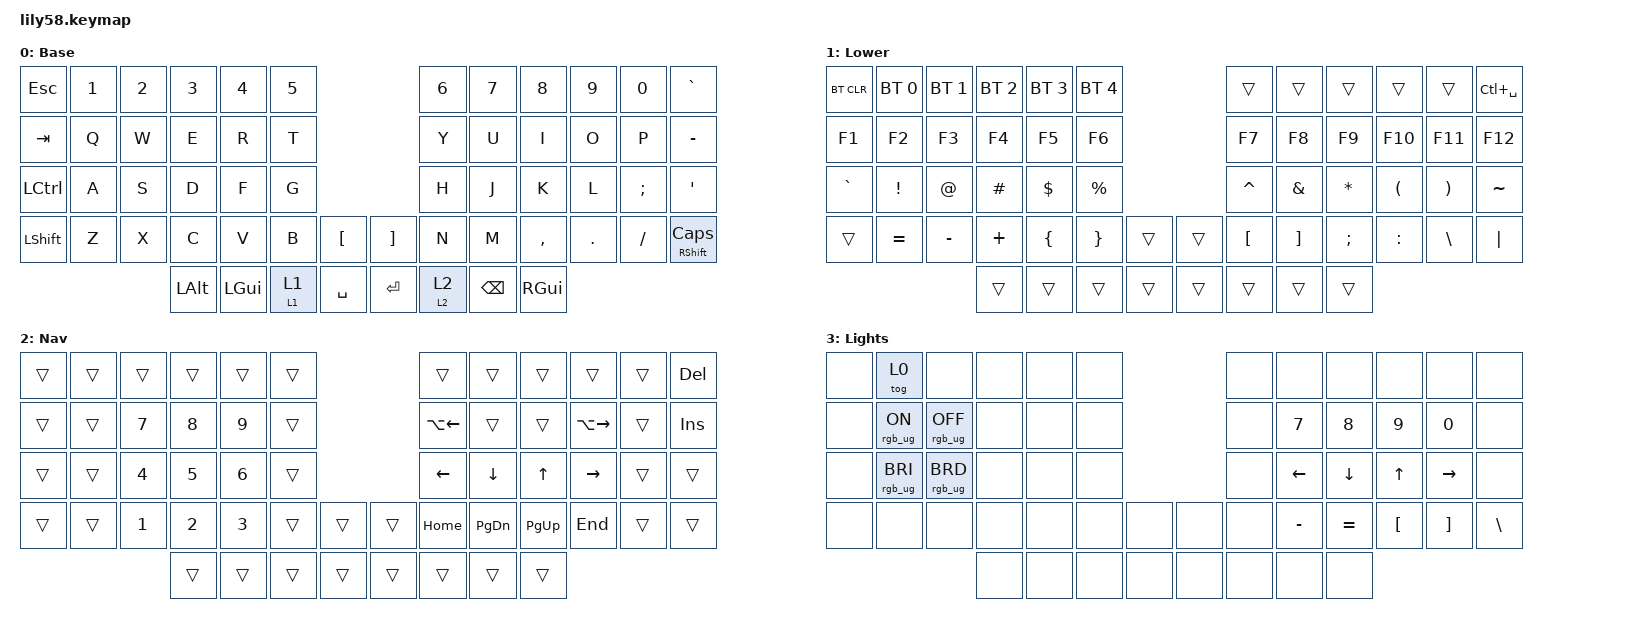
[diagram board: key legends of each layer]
/*
 * Copyright (c) 2020 The ZMK Contributors
 *
 * SPDX-License-Identifier: MIT
 */

#include <behaviors.dtsi>
#include <dt-bindings/zmk/bt.h>
#include <dt-bindings/zmk/keys.h>
#include <dt-bindings/zmk/rgb.h>

/ {
    behaviors {
        layer_ht: layer_hold_tap {
            compatible = "zmk,behavior-hold-tap";
            label = "LAYER_HOLD_TAP";
            #binding-cells = <2>;
            tapping-term-ms = <200>;
            flavor = "tap-preferred";
            bindings = <&mo>, <&tog>;
        };

        shift_caps: shift_caps {
            compatible = "zmk,behavior-hold-tap";
            label = "SHIFT_CAPS";
            #binding-cells = <2>;
            tapping-term-ms = <200>;
            flavor = "hold-preferred";
            bindings = <&kp>, <&kt>;
        };
    };

    keymap {
        compatible = "zmk,keymap";

        default_layer {
            // ------------------------------------------------------------------------------------------------------------
            // |  ESC  |  1  |  2  |  3   |  4   |  5   |                   |  6   |  7    |  8    |  9   |   0   |   `   |
            // |  TAB  |  Q  |  W  |  E   |  R   |  T   |                   |  Y   |  U    |  I    |  O   |   P   |   -   |
            // |  CTRL |  A  |  S  |  D   |  F   |  G   |                   |  H   |  J    |  K    |  L   |   ;   |   '   |
            // | SHIFT |  Z  |  X  |  C   |  V   |  B   |   "["  |  |  "]"  |  N   |  M    |  ,    |  .   |   /   | CAPS  |
            //                     | ALT  | GUI  | LOWER|  SPACE |  | ENTER |  NAV | BSPC  | GUI   |

            display-name = "Base";
            bindings = <
&kp ESC    &kp N1  &kp N2  &kp N3    &kp N4    &kp N5                                &kp N6         &kp N7    &kp N8     &kp N9   &kp N0    &kp GRAVE
&kp TAB    &kp Q   &kp W   &kp E     &kp R     &kp T                                 &kp Y          &kp U     &kp I      &kp O    &kp P     &kp MINUS
&kp LCTRL  &kp A   &kp S   &kp D     &kp F     &kp G                                 &kp H          &kp J     &kp K      &kp L    &kp SEMI  &kp SQT
&kp LSHFT  &kp Z   &kp X   &kp C     &kp V     &kp B          &kp LBKT     &kp RBKT  &kp N          &kp M     &kp COMMA  &kp DOT  &kp FSLH  &shift_caps RIGHT_SHIFT CAPSLOCK
                           &kp LALT  &kp LGUI  &layer_ht 1 1  &kp SPACE    &kp RET   &layer_ht 2 2  &kp BSPC  &kp RGUI
            >;
        };

        lower_layer {
            // ------------------------------------------------------------------------------------------------------------
            // | BTCLR | BT1 | BT2 |  BT3 |  BT4 |  BT5 |                   |      |       |       |      |       | LANG  |
            // |  F1   |  F2 |  F3 |  F4  |  F5  |  F6  |                   |  F7  |  F8   |  F9   |  F10 |  F11  |  F12  |
            // |   `   |  !  |  @  |  #   |  $   |  %   |                   |  ^   |  &    |  *    |  (   |   )   |   ~   |
            // |       |  =  |  -  |  +   |  {   |  }   |        |  |       |  [   |  ]    |  ;    |  :   |   \   |   |   |
            //                     |      |      |      |        |  |       |      |       |       |

            display-name = "Lower";
            bindings = <
&bt BT_CLR  &bt BT_SEL 0  &bt BT_SEL 1  &bt BT_SEL 2  &bt BT_SEL 3  &bt BT_SEL 4                    &trans     &trans    &trans     &trans     &trans    &kp LC(SPACE)
&kp F1      &kp F2        &kp F3        &kp F4        &kp F5        &kp F6                          &kp F7     &kp F8    &kp F9     &kp F10    &kp F11   &kp F12
&kp GRAVE   &kp EXCL      &kp AT        &kp HASH      &kp DOLLAR    &kp PRCNT                       &kp CARET  &kp AMPS  &kp ASTRK  &kp LPAR   &kp RPAR  &kp TILDE
&trans      &kp EQUAL     &kp MINUS     &kp PLUS      &kp LBRC      &kp RBRC      &trans    &trans  &kp LBKT   &kp RBKT  &kp SEMI   &kp COLON  &kp BSLH  &kp PIPE
                                        &trans        &trans        &trans        &trans    &trans  &trans     &trans    &trans
            >;
        };

        nav_layer {
            // ------------------------------------------------------------------------------------------------------------
            // |       |     |     |      |      |      |                   |      | PgUp  |  Up   | PgDn |       |  Del  |
            // |       |     |     |      |      |      |                   | Home | Left  | Down  | Right|  End  |  Ins  |
            // |       |     |     |      |      |      |                   |      | W-Left|       |W-Rght|       |       |
            // |       |     |     |      |      |      |        |  |       |      |       |       |      |       |       |
            //                     |      |      |      |        |  |       |      |       |       |

            display-name = "Nav";
            bindings = <
&trans  &trans  &trans  &trans  &trans  &trans                    &trans              &trans          &trans        &trans         &trans  &kp DEL
&trans  &trans  &kp N7  &kp N8  &kp N9  &trans                    &kp LA(LEFT_ARROW)  &trans          &trans        &kp LA(RIGHT)  &trans  &kp INS
&trans  &trans  &kp N4  &kp N5  &kp N6  &trans                    &kp LEFT_ARROW      &kp DOWN_ARROW  &kp UP_ARROW  &kp RIGHT      &trans  &trans
&trans  &trans  &kp N1  &kp N2  &kp N3  &trans  &trans    &trans  &kp HOME            &kp PAGE_DOWN   &kp PAGE_UP   &kp END        &trans  &trans
                        &trans  &trans  &trans  &trans    &trans  &trans              &trans          &trans
            >;
        };

        lights {
            // ------------------------------------------------------------------------------------------------------------
            // ------------------------------------------------------------------------------------------------------------
            // |       | BASE|     |      |      |      |                   |      |       |       |      |       |       |
            // |       | RGB | RGB |      |      |      |                   |      |   7   |   8   |  9   |   0   |       |
            // |       | BR+ | BR- |      |      |      |                   |      |   <-  |   v   |  ^   |  ->   |       |
            // |       |     |     |      |      |      |        |  |       |      |   -   |   =   |  [   |   ]   |   \   |
            //                     |      |      |      |        |  |       |      |       |       |

            display-name = "Lights";
            bindings = <
&none  &tog 0           &none            &none  &none  &none                  &none  &none      &none      &none     &none      &none
&none  &rgb_ug RGB_ON   &rgb_ug RGB_OFF  &none  &none  &none                  &none  &kp N7     &kp N8     &kp N9    &kp N0     &none
&none  &rgb_ug RGB_BRI  &rgb_ug RGB_BRD  &none  &none  &none                  &none  &kp LEFT   &kp DOWN   &kp UP    &kp RIGHT  &none
&none  &none            &none            &none  &none  &none  &none    &none  &none  &kp MINUS  &kp EQUAL  &kp LBKT  &kp RBKT   &kp BSLH
                                         &none  &none  &none  &none    &none  &none  &none      &none
            >;
        };
    };
};
